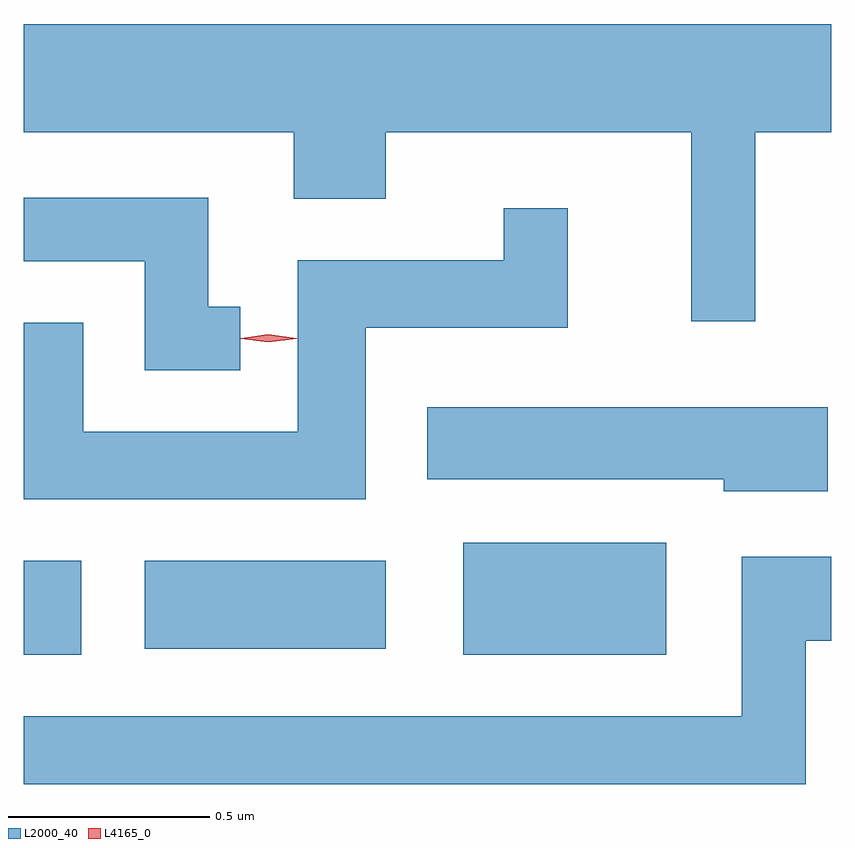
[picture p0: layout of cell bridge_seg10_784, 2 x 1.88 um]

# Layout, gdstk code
import gdstk
lib = gdstk.Library(unit=1e-6, precision=1e-09)
def R(c, l, rs):  # rectangles x0, y0, x1, y1
    for r in rs: c.add(gdstk.rectangle(r[:2], r[2:], *l))
def P(c, l, *ps):  # polygons
    for p in ps: c.add(gdstk.Polygon(p, *l))
L2000_40 = (2000, 40)
L4165_0 = (4165, 0)

bridge_seg10_784 = lib.new_cell('bridge_seg10_784')
R(bridge_seg10_784, L2000_40, [(583.162,2183.661,583.304,2183.894), (584.251,2183.661,584.754,2183.939), (583.461,2183.676,584.059,2183.894)])
P(bridge_seg10_784, L2000_40, [(584.974,2184.956),(585.162,2184.956),(585.162,2185.224),(583.162,2185.224),(583.162,2184.956),(583.831,2184.956),(583.831,2184.791),(584.059,2184.791),(584.059,2184.956),(584.816,2184.956),(584.816,2184.488),(584.974,2184.488)],
  [(583.698,2184.524),(583.619,2184.524),(583.619,2184.794),(583.162,2184.794),(583.162,2184.636),(583.461,2184.636),(583.461,2184.366),(583.698,2184.366)],
  [(584.009,2184.471),(584.509,2184.471),(584.509,2184.768),(584.351,2184.768),(584.351,2184.639),(583.841,2184.639),(583.841,2184.214),(583.309,2184.214),(583.309,2184.484),(583.162,2184.484),(583.162,2184.046),(584.009,2184.046)],
  [(585.154,2184.274),(584.161,2184.274),(584.161,2184.096),(584.896,2184.096),(584.896,2184.066),(585.154,2184.066)],
  [(585.099,2183.696),(585.162,2183.696),(585.162,2183.904),(584.941,2183.904),(584.941,2183.509),(583.162,2183.509),(583.162,2183.341),(585.099,2183.341)])
P(bridge_seg10_784, L4165_0, [(583.768,2184.435),(583.699,2184.444),(583.699,2184.445),(583.699,2184.446),(583.768,2184.455),(583.838,2184.446),(583.838,2184.445),(583.838,2184.444)])

lib.write_gds('bridge_seg10_784.gds')
